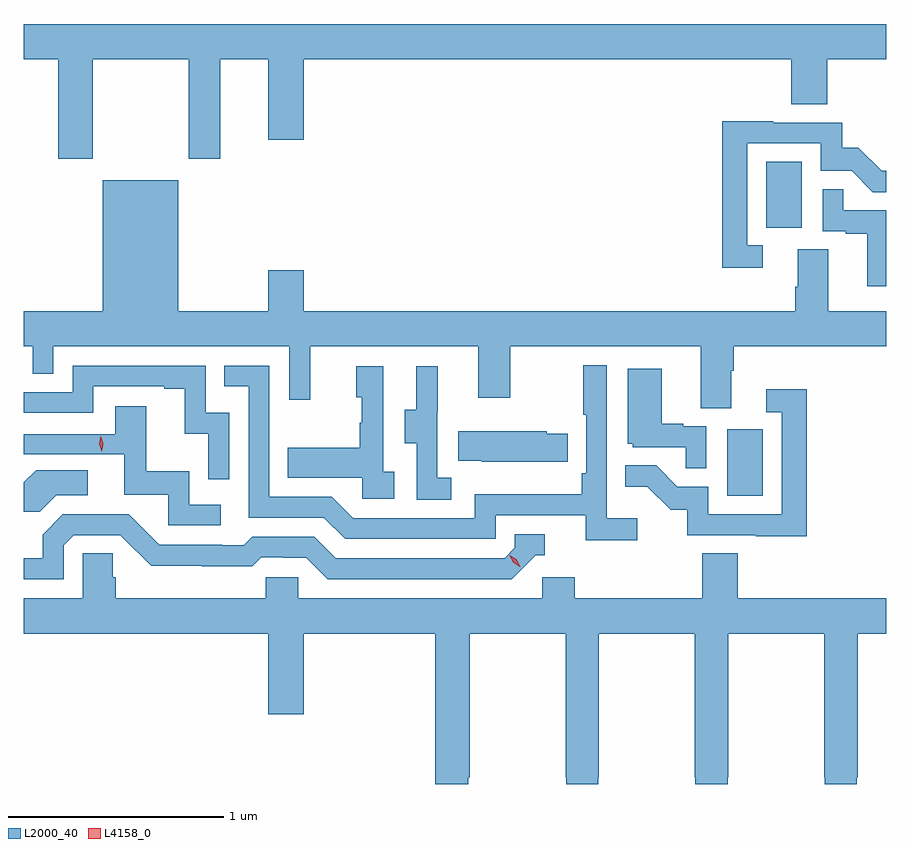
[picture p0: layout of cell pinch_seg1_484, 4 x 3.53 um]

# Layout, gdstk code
import gdstk
lib = gdstk.Library(unit=1e-6, precision=1e-09)
def R(c, l, rs):  # rectangles x0, y0, x1, y1
    for r in rs: c.add(gdstk.rectangle(r[:2], r[2:], *l))
def P(c, l, *ps):  # polygons
    for p in ps: c.add(gdstk.Polygon(p, *l))
L2000_40 = (2000, 40)
L4158_0 = (4158, 0)

pinch_seg1_484 = lib.new_cell('pinch_seg1_484')
R(pinch_seg1_484, L2000_40, [(1090.214,541.716,1090.378,542.023), (1090.394,542.958,1090.558,543.265)])
P(pinch_seg1_484, L2000_40, [(1086.95,543.74),(1087.109,543.74),(1087.109,543.279),(1087.269,543.279),(1087.269,543.74),(1087.714,543.74),(1087.714,543.279),(1087.861,543.279),(1087.861,543.74),(1088.084,543.74),(1088.084,543.366),(1088.248,543.366),(1088.248,543.74),(1090.511,543.74),(1090.511,543.532),(1090.676,543.532),(1090.676,543.74),(1090.95,543.74),(1090.95,543.904),(1086.95,543.904)],
  [(1090.378,542.877),(1090.305,542.877),(1090.305,543.351),(1090.647,543.351),(1090.647,543.222),(1090.791,543.222),(1090.889,543.124),(1090.95,543.124),(1090.95,543.223),(1090.929,543.223),(1090.822,543.33),(1090.746,543.33),(1090.746,543.447),(1090.427,543.447),(1090.427,543.452),(1090.189,543.452),(1090.189,542.772),(1090.378,542.772)],
  [(1090.231,542.296),(1090.244,542.296),(1090.244,542.408),(1090.95,542.408),(1090.95,542.572),(1090.681,542.572),(1090.681,542.858),(1090.541,542.858),(1090.541,542.684),(1090.529,542.684),(1090.529,542.572),(1088.248,542.572),(1088.248,542.761),(1088.084,542.761),(1088.084,542.572),(1087.666,542.572),(1087.666,543.178),(1087.316,543.178),(1087.316,542.572),(1086.95,542.572),(1086.95,542.408),(1086.99,542.408),(1086.99,542.281),(1087.086,542.281),(1087.086,542.408),(1088.181,542.408),(1088.181,542.16),(1088.279,542.16),(1088.279,542.408),(1089.059,542.408),(1089.059,542.169),(1089.207,542.169),(1089.207,542.408),(1090.091,542.408),(1090.091,542.122),(1090.231,542.122)],
  [(1090.95,543.039),(1090.751,543.039),(1090.751,543.137),(1090.656,543.137),(1090.656,542.943),(1090.763,542.943),(1090.763,542.931),(1090.862,542.931),(1090.862,542.688),(1090.95,542.688)],
  [(1089.796,541.612),(1089.654,541.612),(1089.654,542.32),(1089.546,542.32),(1089.546,542.092),(1089.558,542.092),(1089.558,541.819),(1089.538,541.819),(1089.538,541.723),(1089.042,541.723),(1089.042,541.611),(1088.478,541.611),(1088.379,541.71),(1088.088,541.71),(1088.088,542.319),(1087.879,542.319),(1087.879,542.223),(1087.992,542.223),(1087.992,541.614),(1088.342,541.614),(1088.441,541.515),(1089.138,541.515),(1089.138,541.626),(1089.557,541.626),(1089.557,541.51),(1089.796,541.51)],
  [(1087.902,542.1),(1087.794,542.1),(1087.794,542.319),(1087.176,542.319),(1087.176,542.196),(1086.95,542.196),(1086.95,542.1),(1087.272,542.1),(1087.272,542.223),(1087.601,542.223),(1087.601,542.211),(1087.697,542.211),(1087.697,542.003),(1087.806,542.003),(1087.806,541.791),(1087.902,541.791)],
  [(1088.668,541.826),(1088.616,541.826),(1088.616,542.317),(1088.492,542.317),(1088.492,542.172),(1088.518,542.172),(1088.518,542.054),(1088.508,542.054),(1088.508,541.939),(1088.173,541.939),(1088.173,541.799),(1088.52,541.799),(1088.52,541.701),(1088.668,541.701)],
  [(1088.932,541.799),(1088.868,541.799),(1088.868,542.103),(1088.87,542.103),(1088.87,542.317),(1088.771,542.317),(1088.771,542.115),(1088.717,542.115),(1088.717,541.96),(1088.772,541.96),(1088.772,541.696),(1088.932,541.696)],
  [(1090.116,542.037),(1090.01,542.037),(1090.01,542.05),(1089.91,542.05),(1089.91,542.305),(1089.752,542.305),(1089.752,541.956),(1089.774,541.956),(1089.774,541.941),(1090.021,541.941),(1090.021,541.843),(1090.116,541.843)],
  [(1090.583,542.209),(1090.395,542.209),(1090.395,542.103),(1090.467,542.103),(1090.467,541.629),(1090.125,541.629),(1090.125,541.758),(1089.981,541.758),(1089.883,541.856),(1089.739,541.856),(1089.739,541.757),(1089.843,541.757),(1089.95,541.65),(1090.027,541.65),(1090.027,541.533),(1090.345,541.533),(1090.345,541.528),(1090.583,541.528)],
  [(1087.864,541.674),(1087.716,541.674),(1087.716,541.828),(1087.517,541.828),(1087.517,542.131),(1087.373,542.131),(1087.373,542.001),(1086.95,542.001),(1086.95,541.909),(1087.415,541.909),(1087.415,541.719),(1087.62,541.719),(1087.62,541.578),(1087.864,541.578)],
  [(1089.473,542.004),(1089.375,542.004),(1089.375,542.014),(1088.965,542.014),(1088.965,541.877),(1089.073,541.877),(1089.073,541.874),(1089.473,541.874)],
  [(1087.1,541.718),(1087.246,541.718),(1087.246,541.833),(1087.12,541.833),(1087.12,541.834),(1087.007,541.834),(1086.95,541.777),(1086.95,541.642),(1087.024,541.642)],
  [(1087.134,541.485),(1087.182,541.533),(1087.398,541.533),(1087.54,541.391),(1087.776,541.391),(1087.776,541.389),(1088.009,541.389),(1088.051,541.431),(1088.154,541.431),(1088.154,541.428),(1088.261,541.428),(1088.36,541.329),(1089.213,541.329),(1089.324,541.44),(1089.367,541.44),(1089.367,541.536),(1089.228,541.536),(1089.228,541.473),(1089.18,541.425),(1088.397,541.425),(1088.298,541.524),(1088.009,541.524),(1087.97,541.485),(1087.871,541.485),(1087.871,541.488),(1087.578,541.488),(1087.437,541.629),(1087.131,541.629),(1087.037,541.535),(1087.037,541.425),(1086.95,541.425),(1086.95,541.329),(1087.134,541.329)],
  [(1089.011,540.409),(1089.018,540.409),(1089.018,541.076),(1089.463,541.076),(1089.463,540.409),(1089.465,540.409),(1089.465,540.378),(1089.615,540.378),(1089.615,540.409),(1089.618,540.409),(1089.618,541.076),(1090.063,541.076),(1090.063,540.409),(1090.065,540.409),(1090.065,540.378),(1090.215,540.378),(1090.215,540.409),(1090.218,540.409),(1090.218,541.076),(1090.663,541.076),(1090.663,540.409),(1090.665,540.409),(1090.665,540.378),(1090.815,540.378),(1090.815,540.409),(1090.818,540.409),(1090.818,541.076),(1090.95,541.076),(1090.95,541.24),(1090.262,541.24),(1090.262,541.448),(1090.097,541.448),(1090.097,541.24),(1089.506,541.24),(1089.506,541.338),(1089.354,541.338),(1089.354,541.24),(1088.223,541.24),(1088.223,541.338),(1088.073,541.338),(1088.073,541.24),(1087.376,541.24),(1087.376,541.338),(1087.361,541.338),(1087.361,541.448),(1087.224,541.448),(1087.224,541.24),(1086.95,541.24),(1086.95,541.076),(1088.084,541.076),(1088.084,540.702),(1088.248,540.702),(1088.248,541.076),(1088.858,541.076),(1088.858,540.378),(1089.011,540.378)])
P(pinch_seg1_484, L4158_0, [(1087.312,541.921),(1087.312,541.921),(1087.299,541.956),(1087.306,541.992),(1087.306,541.992),(1087.307,541.992),(1087.319,541.957),(1087.312,541.921)],
  [(1089.251,541.387),(1089.22,541.406),(1089.204,541.438),(1089.204,541.439),(1089.204,541.439),(1089.235,541.42),(1089.252,541.387),(1089.252,541.387)])

lib.write_gds('pinch_seg1_484.gds')
